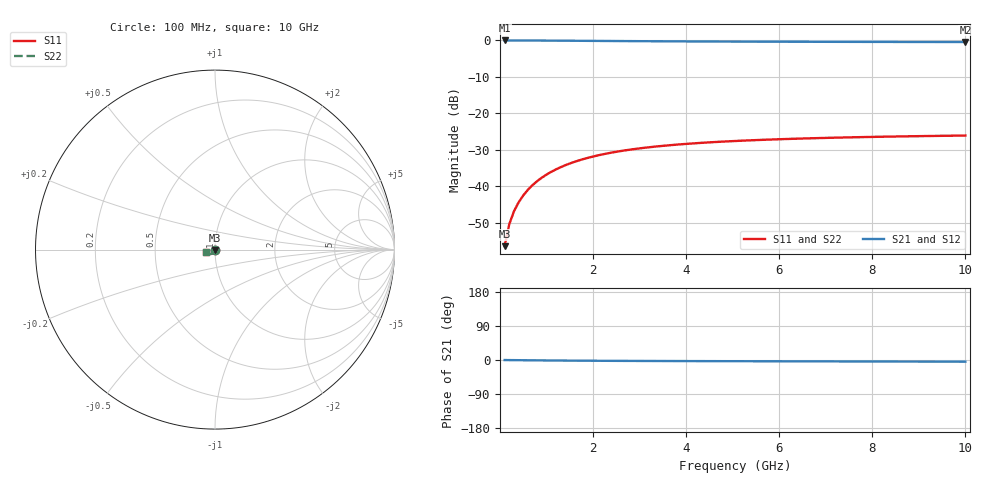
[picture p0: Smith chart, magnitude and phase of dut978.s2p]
! Touchstone file exported from HFSS 2024.1.0
!  File:  C:/UserFiles/LocalFiles/RDL_TSV_Batchsim/temp_TSV1_978_1779951713.aedt
!  Generated:  03:06:09 PM May 28, 2026
!  Design:  TSV1
!  Project:  temp_TSV1_978_1779951713
!  Setup:  Setup1
!  Solution:  Sweep
! Variables:
!  dtsv = 14.72um
!  hbump = 3um
!  htsv = 64.98um
!  lrdl = 252.1521522um
!  p = 40
!  p1 = 52.94um
!  t = 500um
!  trdl = 3um
!  wrdl = 24.89489489um
# GHz S MA R 50.000000
! Terminal data exported
! Port[1] = TSV22_T1
! Port[2] = TSV22_T2
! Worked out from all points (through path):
!   100 points, 100 MHz to 10 GHz, reference 50 ohm
!   highest |S21| = 0.00 dB at 100 MHz (marker M1); lowest = -0.4 dB at 10 GHz (marker M2)
!   lowest |S11| = -56.5 dB at 100 MHz (marker M3), VSWR 1.00, Z = 50 - j0.15 ohm
!   |S11| at or under -10 dB: start of sweep to end of sweep
!   |S22| runs from -56.5 to -26.1 dB; largest |S21 - S12| = 4.1e-15
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0.1  0.001503 -89.1  0.9999 -0.1  0.9999 -0.1  0.001503 -89.1
! Gamma 0 0 0 0
! Port Impedance 50 0 50 0
0.2  0.003005 -92.1  0.9997 -0.3  0.9997 -0.3  0.003005 -92.1
0.3  0.004504 -94.3  0.9995 -0.4  0.9995 -0.4  0.004504 -94.3
0.4  0.005994 -96.4  0.9991 -0.5  0.9991 -0.5  0.005994 -96.4
0.5  0.007466 -98.3  0.9987 -0.6  0.9987 -0.6  0.007466 -98.3
0.6  0.008917 -100.2  0.9982 -0.7  0.9982 -0.7  0.008917 -100.2
0.7  0.01034 -102.0  0.9976 -0.8  0.9976 -0.8  0.01034 -102.0
0.8  0.01173 -103.9  0.9969 -1.0  0.9969 -1.0  0.01173 -103.9
0.9  0.0131 -105.6  0.9962 -1.1  0.9962 -1.1  0.0131 -105.6
1.1  0.01571 -109.0  0.9946 -1.3  0.9946 -1.3  0.01571 -109.0
1.4  0.01935 -113.8  0.992 -1.5  0.992 -1.5  0.01935 -113.8
1.6  0.02157 -116.7  0.9901 -1.7  0.9901 -1.7  0.02157 -116.7
1.8  0.02363 -119.5  0.9882 -1.8  0.9882 -1.8  0.02363 -119.5
2.1  0.02643 -123.4  0.9853 -2.0  0.9853 -2.0  0.02643 -123.4
2.5  0.02966 -128.1  0.9816 -2.3  0.9816 -2.3  0.02966 -128.1
2.9  0.03241 -132.2  0.9782 -2.5  0.9782 -2.5  0.03241 -132.2
3.4  0.03527 -136.7  0.9744 -2.7  0.9744 -2.7  0.03527 -136.7
4.2  0.03884 -142.6  0.9691 -2.9  0.9691 -2.9  0.03884 -142.6
5.1  0.04183 -148.0  0.9645 -3.2  0.9645 -3.2  0.04183 -148.0
6.7  0.04547 -155.3  0.9586 -3.6  0.9586 -3.6  0.04547 -155.3
8.4  0.04795 -161.2  0.9543 -4.0  0.9543 -4.0  0.04795 -161.2
10  0.04955 -165.6  0.9515 -4.4  0.9515 -4.4  0.04955 -165.6
